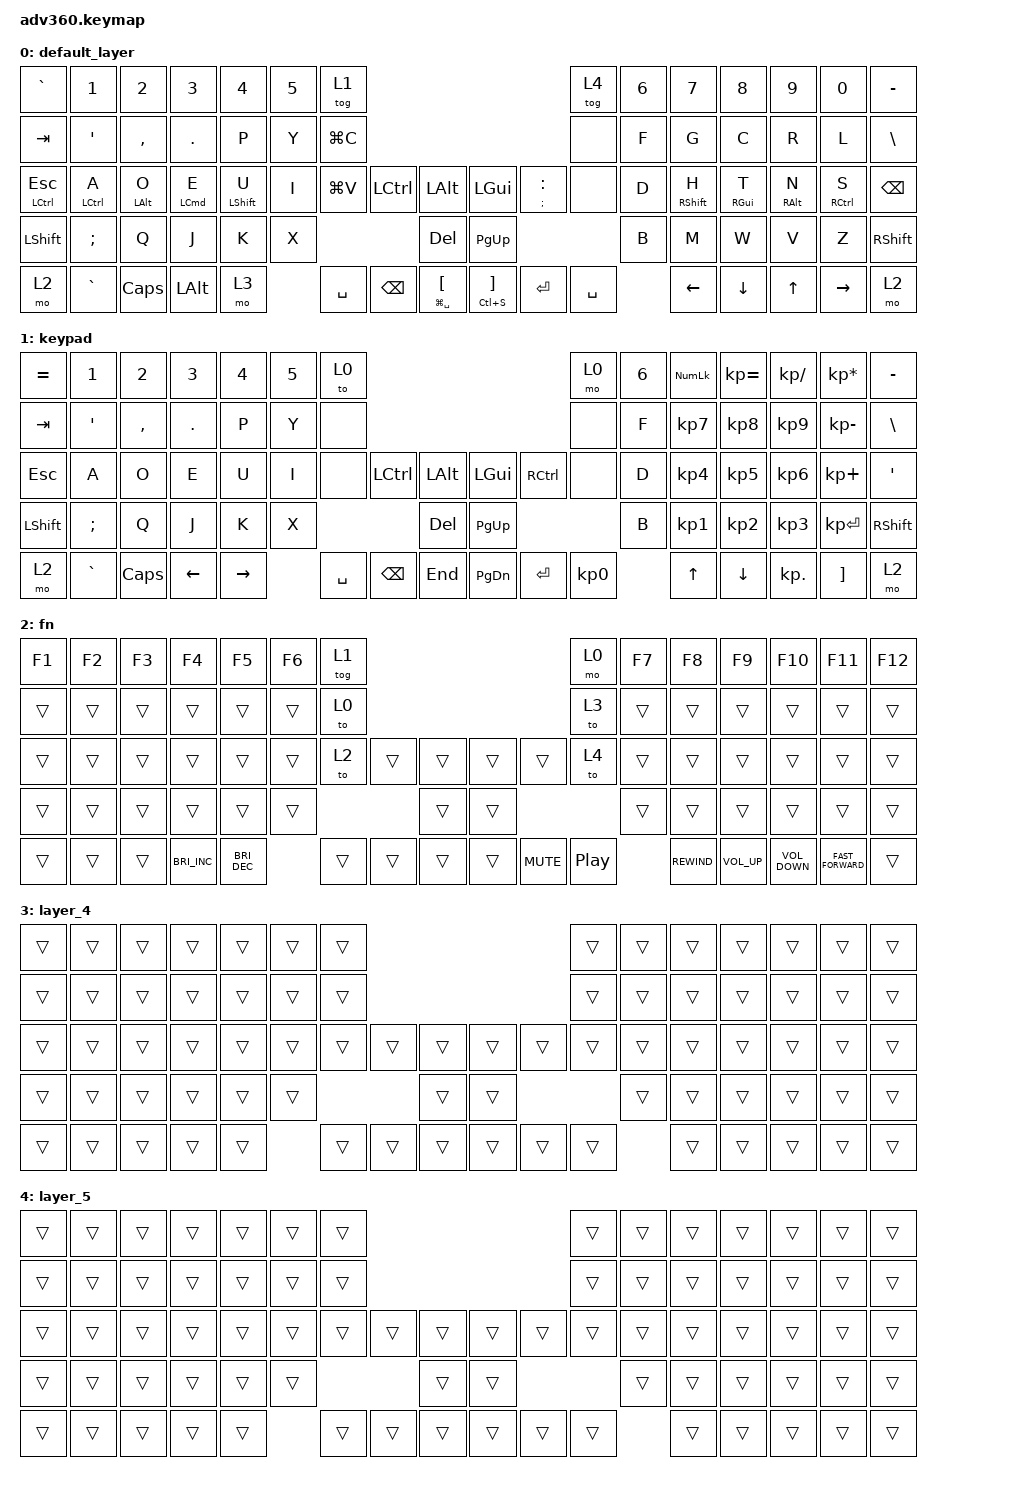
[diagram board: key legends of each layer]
#include <behaviors.dtsi>
#include <dt-bindings/zmk/keys.h>

/ {
    behaviors {
        #include "macros.dtsi"
      #include "version.dtsi"
      #ifndef VERSION_MACRO

        macro_ver: macro_ver {
            compatible = "zmk,behavior-macro";
            label = "macro_version";
            #binding-cells = <0>;
            bindings = <&kp RET>;
        };

        #endif

        hm: homerow_mods {
            compatible = "zmk,behavior-hold-tap";
            label = "HOMEROW_MODS";
            #binding-cells = <2>;
            tapping-term-ms = <200>;
            quick_tap_ms = <175>;
            flavor = "balanced";
            bindings = <&kp>, <&kp>;
        };
    };

    macros {
    };

    keymap {
        compatible = "zmk,keymap";

        default_layer {
            bindings = <
&kp GRAVE                &kp N1              &kp N2          &kp N3              &kp N4            &kp N5  &tog 1                                                                                         &tog 4     &kp N6  &kp N7             &kp N8           &kp N9           &kp N0               &kp MINUS
&kp TAB                  &kp SQT             &kp COMMA       &kp DOT             &kp P             &kp Y   &kp LG(C)                                                                                      &none      &kp F   &kp G              &kp C            &kp R            &kp L                &kp BSLH
&mt LEFT_CONTROL ESCAPE  &hm LEFT_CONTROL A  &hm LEFT_ALT O  &hm LEFT_COMMAND E  &hm LEFT_SHIFT U  &kp I   &kp LG(V)  &kp LCTRL  &kp LALT                        &kp LGUI                 &mt SEMI COLON  &none      &kp D   &mt RIGHT_SHIFT H  &mt RIGHT_GUI T  &mt RIGHT_ALT N  &hm RIGHT_CONTROL S  &kp BACKSPACE
&kp LSHFT                &kp SEMI            &kp Q           &kp J               &kp K             &kp X                         &kp DELETE                      &kp PG_UP                                           &kp B   &kp M              &kp W            &kp V            &kp Z                &kp RSHFT
&mo 2                    &kp GRAVE           &kp CAPS        &kp LALT            &mo 3                     &kp SPACE  &kp BSPC   &mt LG(SPACE) LEFT_BRACKET      &mt LC(S) RIGHT_BRACKET  &kp ENTER       &kp SPACE          &kp LEFT           &kp DOWN         &kp UP_ARROW     &kp RIGHT            &mo 2
            >;
        };

        keypad {
            bindings = <
&kp EQUAL  &kp N1     &kp N2     &kp N3    &kp N4     &kp N5  &to 0                                                     &mo 0      &kp N6  &kp KP_NUM  &kp KP_EQUAL  &kp KP_DIVIDE  &kp KP_MULTIPLY  &kp MINUS
&kp TAB    &kp SQT    &kp COMMA  &kp DOT   &kp P      &kp Y   &none                                                     &none      &kp F   &kp KP_N7   &kp KP_N8     &kp KP_N9      &kp KP_MINUS     &kp BSLH
&kp ESC    &kp A      &kp O      &kp E     &kp U      &kp I   &none      &kp LCTRL  &kp LALT      &kp LGUI   &kp RCTRL  &none      &kp D   &kp KP_N4   &kp KP_N5     &kp KP_N6      &kp KP_PLUS      &kp SQT
&kp LSHFT  &kp SEMI   &kp Q      &kp J     &kp K      &kp X                         &kp DEL       &kp PG_UP                        &kp B   &kp KP_N1   &kp KP_N2     &kp KP_N3      &kp KP_ENTER     &kp RSHFT
&mo 2      &kp GRAVE  &kp CAPS   &kp LEFT  &kp RIGHT          &kp SPACE  &kp BSPC   &kp END       &kp PG_DN  &kp ENTER  &kp KP_N0          &kp UP      &kp DOWN      &kp KP_DOT     &kp RBKT         &mo 2
            >;
        };

        fn {
            bindings = <
&kp F1  &kp F2  &kp F3  &kp F4                &kp F5                &kp F6  &tog 1                                          &mo 0             &kp F7  &kp F8        &kp F9           &kp F10            &kp F11             &kp F12
&trans  &trans  &trans  &trans                &trans                &trans  &to 0                                           &to 3             &trans  &trans        &trans           &trans             &trans              &trans
&trans  &trans  &trans  &trans                &trans                &trans  &to 2   &trans  &trans      &trans  &trans      &to 4             &trans  &trans        &trans           &trans             &trans              &trans
&trans  &trans  &trans  &trans                &trans                &trans                  &trans      &trans                                &trans  &trans        &trans           &trans             &trans              &trans
&trans  &trans  &trans  &kp C_BRIGHTNESS_INC  &kp C_BRIGHTNESS_DEC          &trans  &trans  &trans      &trans  &kp C_MUTE  &kp C_PLAY_PAUSE          &kp C_REWIND  &kp C_VOLUME_UP  &kp C_VOLUME_DOWN  &kp C_FAST_FORWARD  &trans
            >;
        };

        layer_4 {
            bindings = <
&trans  &trans  &trans  &trans  &trans  &trans  &trans                                      &trans  &trans  &trans  &trans  &trans  &trans  &trans
&trans  &trans  &trans  &trans  &trans  &trans  &trans                                      &trans  &trans  &trans  &trans  &trans  &trans  &trans
&trans  &trans  &trans  &trans  &trans  &trans  &trans  &trans  &trans      &trans  &trans  &trans  &trans  &trans  &trans  &trans  &trans  &trans
&trans  &trans  &trans  &trans  &trans  &trans                  &trans      &trans                  &trans  &trans  &trans  &trans  &trans  &trans
&trans  &trans  &trans  &trans  &trans          &trans  &trans  &trans      &trans  &trans  &trans          &trans  &trans  &trans  &trans  &trans
            >;
        };

        layer_5 {
            bindings = <
&trans  &trans  &trans  &trans  &trans  &trans  &trans                                      &trans  &trans  &trans  &trans  &trans  &trans  &trans
&trans  &trans  &trans  &trans  &trans  &trans  &trans                                      &trans  &trans  &trans  &trans  &trans  &trans  &trans
&trans  &trans  &trans  &trans  &trans  &trans  &trans  &trans  &trans      &trans  &trans  &trans  &trans  &trans  &trans  &trans  &trans  &trans
&trans  &trans  &trans  &trans  &trans  &trans                  &trans      &trans                  &trans  &trans  &trans  &trans  &trans  &trans
&trans  &trans  &trans  &trans  &trans          &trans  &trans  &trans      &trans  &trans  &trans          &trans  &trans  &trans  &trans  &trans
            >;
        };
    };
};
